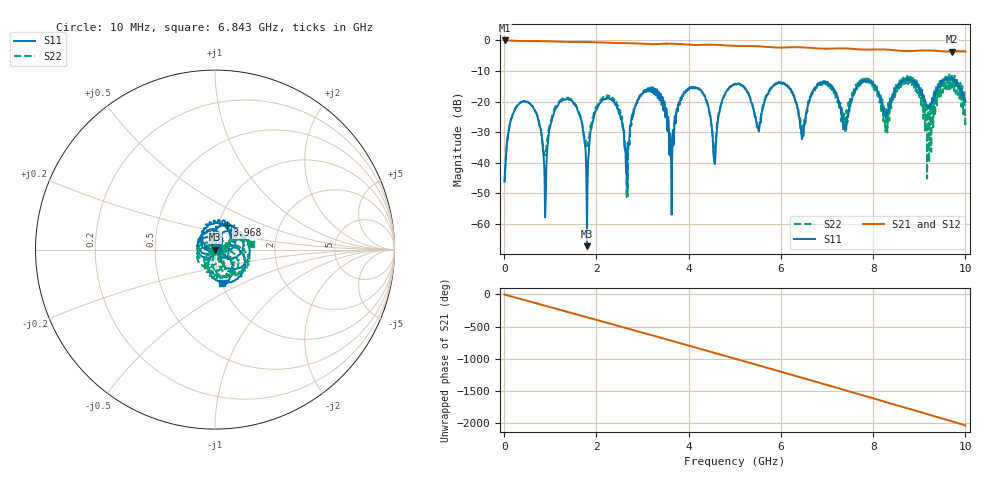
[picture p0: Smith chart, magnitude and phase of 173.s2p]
!Keysight Technologies,E5080B,MY59205177,A.15.75.32
!Date: Friday, February 23, 2024 03:43:31
!Correction: S11(Cdelta 2-Port  )
!S21(Cdelta 2-Port  )
!S12(Cdelta 2-Port  )
!S22(Cdelta 2-Port  )
!S2P File: Measurements: S11, S21, S12, S22:
# Hz S  dB  R 50
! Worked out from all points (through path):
!   10001 points, 10 MHz to 10 GHz, reference 50 ohm
!   highest |S21| = -0.01 dB at 10 MHz (marker M1); lowest = -3.7 dB at 9.701 GHz (marker M2)
!   group delay of S21, straight-line fit = 566 ps
!   lowest |S11| = -67.2 dB at 1.797 GHz (marker M3), VSWR 1.00, Z = 50 + j0.0436 ohm
!   |S11| at or under -10 dB: start of sweep to end of sweep
!   |S22| runs from -51.6 to -11.1 dB; largest |S21 - S12| = 0.0016
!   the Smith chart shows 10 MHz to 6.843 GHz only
!   S11 on the Smith chart (normalised r, x): 10 MHz: 1.01, -0.00; 3.968 GHz: 1.10, +0.30; 6.843 GHz: 1.01, -0.39
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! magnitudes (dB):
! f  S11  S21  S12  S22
! 10 MHz  -46.1  0.0  0.0  -45.9
! 372.6 MHz  -20.1  -0.2  -0.2  -20.1
! 888.1 MHz  -56.9  -0.3  -0.3  -37.3
! 1.175 GHz  -20.8  -0.4  -0.4  -20.3
! 1.675 GHz  -26.3  -0.5  -0.5  -25.7
! 1.797 GHz  -67.2  -0.5  -0.5  -33.5
! 2.108 GHz  -19.8  -0.7  -0.7  -19.0
! 2.664 GHz  -47.7  -0.9  -0.9  -43.2
! 2.907 GHz  -19.3  -1.0  -1.0  -18.8
! 3.341 GHz  -17.5  -1.1  -1.1  -17.6
! 3.627 GHz  -47.0  -1.0  -1.0  -41.5
! 3.968 GHz  -16.4  -1.3  -1.3  -16.1
! 4.562 GHz  -40.1  -1.4  -1.4  -38.5
! 5.005 GHz  -14.1  -1.8  -1.8  -14.4
! 5.515 GHz  -29.4  -1.9  -1.9  -28.8
! 6.107 GHz  -14.6  -2.3  -2.3  -14.7
! 6.464 GHz  -31.8  -2.3  -2.3  -27.7
! 6.67 GHz  -17.4  -2.5  -2.5  -17.0
! 6.843 GHz  -14.3  -2.6  -2.6  -13.9
! 8.336 GHz  -22.6  -3.1  -3.1  -20.9
! 9.701 GHz  -12.3  -3.7  -3.7  -13.8
! 10 GHz  -19.9  -3.6  -3.6  -25.3
